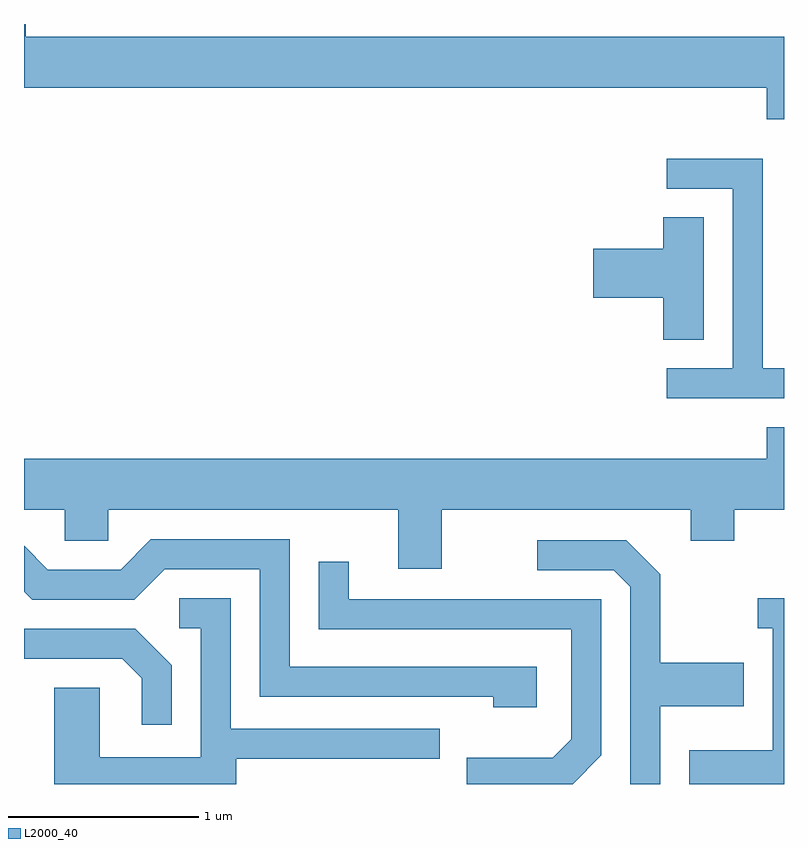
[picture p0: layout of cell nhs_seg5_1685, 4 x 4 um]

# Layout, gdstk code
import gdstk
lib = gdstk.Library(unit=1e-6, precision=1e-09)
def P(c, l, *ps):  # polygons
    for p in ps: c.add(gdstk.Polygon(p, *l))
L2000_40 = (2000, 40)

nhs_seg5_1685 = lib.new_cell('nhs_seg5_1685')
P(nhs_seg5_1685, L2000_40, [(239.611,1406.004),(235.619,1406.004),(235.619,1406.072),(235.611,1406.072),(235.611,1405.736),(239.521,1405.736),(239.521,1405.571),(239.611,1405.571)],
  [(239.611,1404.259),(239.499,1404.259),(239.499,1405.364),(238.993,1405.364),(238.993,1405.206),(239.341,1405.206),(239.341,1404.259),(238.993,1404.259),(238.993,1404.101),(239.611,1404.101)],
  [(239.189,1405.054),(238.976,1405.054),(238.976,1404.889),(238.606,1404.889),(238.606,1404.631),(238.976,1404.631),(238.976,1404.411),(239.189,1404.411)],
  [(237.809,1403.516),(239.121,1403.516),(239.121,1403.351),(239.349,1403.351),(239.349,1403.516),(239.611,1403.516),(239.611,1403.949),(239.521,1403.949),(239.521,1403.784),(235.611,1403.784),(235.611,1403.516),(235.826,1403.516),(235.826,1403.351),(236.054,1403.351),(236.054,1403.516),(237.581,1403.516),(237.581,1403.206),(237.809,1403.206)],
  [(238.309,1402.689),(237.009,1402.689),(237.009,1403.359),(236.279,1403.359),(236.119,1403.199),(235.737,1403.199),(235.611,1403.325),(235.611,1403.084),(235.654,1403.041),(236.192,1403.041),(236.352,1403.201),(236.851,1403.201),(236.851,1402.531),(238.081,1402.531),(238.081,1402.476),(238.309,1402.476)],
  [(238.959,1402.481),(239.399,1402.481),(239.399,1402.709),(238.959,1402.709),(238.959,1403.177),(238.782,1403.354),(238.313,1403.354),(238.313,1403.196),(238.714,1403.196),(238.801,1403.109),(238.801,1402.072),(238.959,1402.072)],
  [(238.649,1402.224),(238.649,1403.044),(237.319,1403.044),(237.319,1403.243),(237.161,1403.243),(237.161,1402.886),(238.491,1402.886),(238.491,1402.307),(238.394,1402.209),(237.941,1402.209),(237.941,1402.072),(238.498,1402.072)],
  [(239.611,1403.049),(239.473,1403.049),(239.473,1402.891),(239.551,1402.891),(239.551,1402.249),(239.111,1402.249),(239.111,1402.072),(239.611,1402.072)],
  [(236.729,1402.206),(237.798,1402.206),(237.798,1402.364),(236.699,1402.364),(236.699,1403.049),(236.428,1403.049),(236.428,1402.891),(236.541,1402.891),(236.541,1402.214),(236.009,1402.214),(236.009,1402.579),(235.771,1402.579),(235.771,1402.072),(236.729,1402.072)],
  [(236.389,1402.697),(236.197,1402.889),(235.611,1402.889),(235.611,1402.731),(236.129,1402.731),(236.231,1402.629),(236.231,1402.383),(236.389,1402.383)])

lib.write_gds('nhs_seg5_1685.gds')
